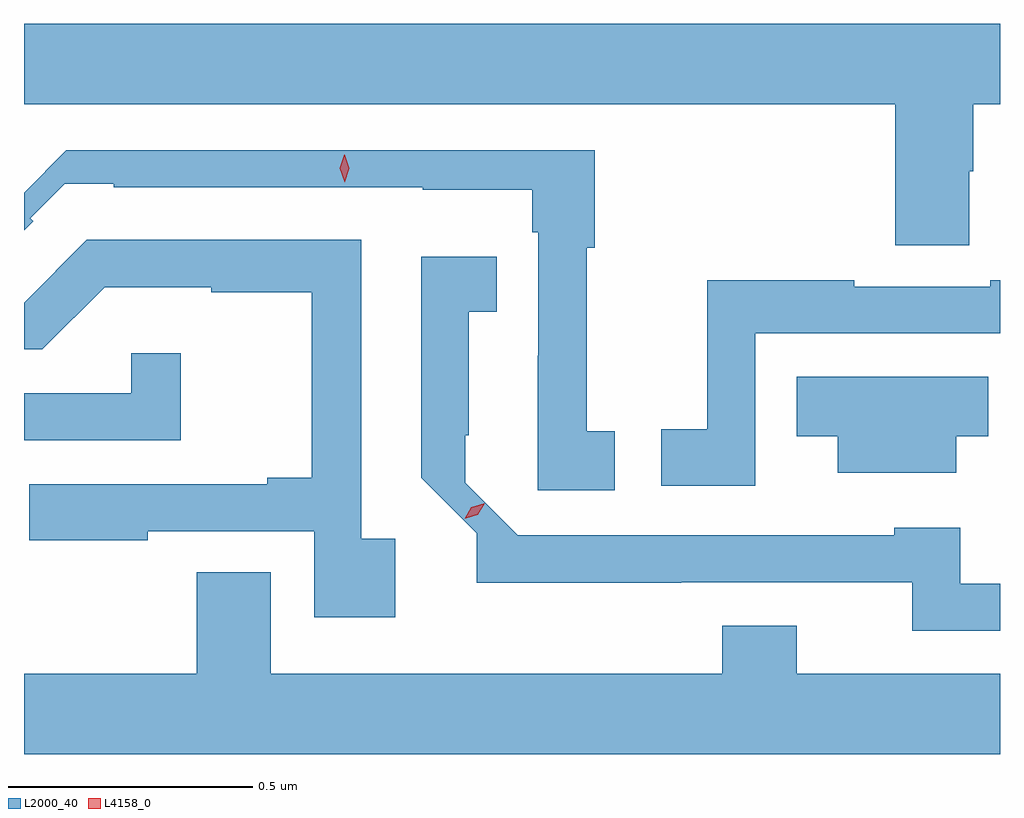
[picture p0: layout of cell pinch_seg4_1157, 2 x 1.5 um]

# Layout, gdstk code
import gdstk
lib = gdstk.Library(unit=1e-6, precision=1e-09)
def P(c, l, *ps):  # polygons
    for p in ps: c.add(gdstk.Polygon(p, *l))
L2000_40 = (2000, 40)
L4158_0 = (4158, 0)

pinch_seg4_1157 = lib.new_cell('pinch_seg4_1157')
P(pinch_seg4_1157, L2000_40, [(518.068,790.022),(518.076,790.022),(518.076,790.16),(518.131,790.16),(518.131,790.324),(516.131,790.324),(516.131,790.16),(517.916,790.16),(517.916,789.871),(518.068,789.871)],
  [(517.342,789.489),(517.284,789.489),(517.284,789.865),(517.301,789.865),(517.301,790.065),(516.218,790.065),(516.131,789.978),(516.131,789.901),(516.15,789.92),(516.144,789.926),(516.215,789.997),(516.315,789.997),(516.315,789.989),(516.948,789.989),(516.948,789.984),(517.173,789.984),(517.173,789.897),(517.185,789.897),(517.185,789.644),(517.184,789.644),(517.184,789.369),(517.342,789.369)],
  [(516.892,789.269),(516.822,789.269),(516.822,789.882),(516.26,789.882),(516.131,789.753),(516.131,789.657),(516.168,789.657),(516.296,789.785),(516.515,789.785),(516.515,789.774),(516.721,789.774),(516.721,789.394),(516.629,789.394),(516.629,789.381),(516.142,789.381),(516.142,789.266),(516.385,789.266),(516.385,789.285),(516.726,789.285),(516.726,789.108),(516.892,789.108)],
  [(518.131,789.177),(518.05,789.177),(518.05,789.292),(517.914,789.292),(517.914,789.276),(517.143,789.276),(517.035,789.384),(517.035,789.481),(517.042,789.481),(517.042,789.734),(517.1,789.734),(517.1,789.847),(516.945,789.847),(516.945,789.394),(517.059,789.28),(517.059,789.179),(517.478,789.179),(517.478,789.18),(517.951,789.18),(517.951,789.081),(518.131,789.081)],
  [(517.629,789.69),(518.131,789.69),(518.131,789.799),(518.111,789.799),(518.111,789.786),(517.832,789.786),(517.832,789.799),(517.531,789.799),(517.531,789.494),(517.437,789.494),(517.437,789.378),(517.629,789.378)],
  [(516.452,789.649),(516.351,789.649),(516.351,789.567),(516.131,789.567),(516.131,789.471),(516.452,789.471)],
  [(518.041,789.479),(518.107,789.479),(518.107,789.601),(517.714,789.601),(517.714,789.479),(517.799,789.479),(517.799,789.404),(518.041,789.404)],
  [(518.131,788.992),(517.714,788.992),(517.714,789.091),(517.562,789.091),(517.562,788.992),(516.637,788.992),(516.637,789.2),(516.485,789.2),(516.485,788.992),(516.131,788.992),(516.131,788.828),(518.131,788.828)])
P(pinch_seg4_1157, L4158_0, [(517.034,789.31),(517.034,789.31),(517.048,789.334),(517.075,789.342),(517.075,789.342),(517.075,789.342),(517.061,789.318),(517.034,789.31)],
  [(516.788,790),(516.788,790),(516.778,790.028),(516.787,790.056),(516.788,790.056),(516.788,790.056),(516.798,790.028),(516.788,790)])

lib.write_gds('pinch_seg4_1157.gds')
